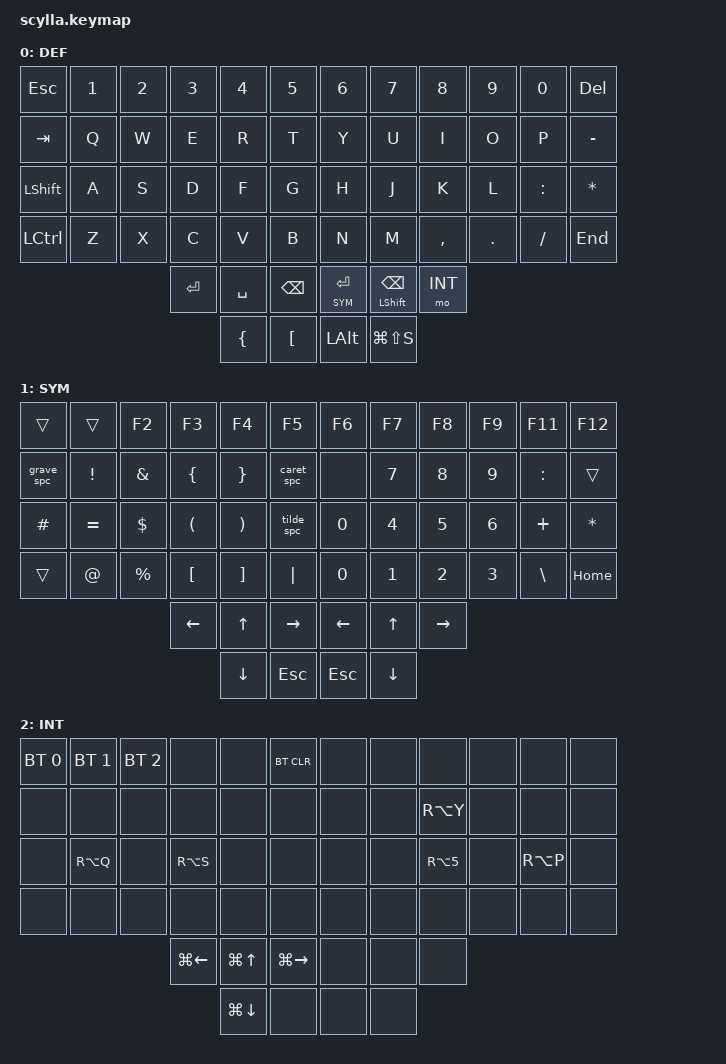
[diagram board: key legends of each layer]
#include <behaviors.dtsi>
#include <dt-bindings/zmk/keys.h>
#include <dt-bindings/zmk/bt.h>

#define DEF 0
#define SYM 1
#define INT 2

/ {
     macros {
      sqt_spc: sqt_spc {
        label = "ZM_sqt_spc";
        compatible = "zmk,behavior-macro";
        #binding-cells = <0>;
        tap-ms = <30>;
        bindings = <&kp SQT &kp SPACE>;
      };
      grave_spc: grave_spc {
        label = "ZM_grave_spc";
        compatible = "zmk,behavior-macro";
        #binding-cells = <0>;
        tap-ms = <30>;
        bindings = <&kp GRAVE &kp SPACE>;
      };
      tilde_spc: tilde_spc {
        label = "ZM_tilde_spc";
        compatible = "zmk,behavior-macro";
        #binding-cells = <0>;
        tap-ms = <30>;
        bindings = <&kp TILDE &kp SPACE>;
      };
      caret_spc: caret_spc {
        label = "ZM_tilde_spc";
        compatible = "zmk,behavior-macro";
        #binding-cells = <0>;
        tap-ms = <30>;
        bindings = <&kp CARET &kp SPACE>;
      };
    };
};

/ {
  keymap {
    compatible = "zmk,keymap";

DEF {
bindings = <
&kp ESC       &kp N1 &kp N2 &kp N3   &kp N4    &kp N5         &kp N6        &kp N7         &kp N8    &kp N9  &kp N0    &kp DEL
&kp TAB       &kp Q  &kp W  &kp E    &kp R     &kp T          &kp Y         &kp U          &kp I     &kp O   &kp P     &kp MINUS
&kp LSHIFT    &kp A  &kp S  &kp D    &kp F     &kp G          &kp H         &kp J          &kp K     &kp L   &kp COLON &kp STAR
&kp LCTL      &kp Z  &kp X  &kp C    &kp V     &kp B          &kp N         &kp M          &kp COMMA &kp DOT &kp SLASH &kp END
                            &kp RET  &kp SPACE &kp BSPC       &lt SYM ENTER &mt LSHFT BSPC &mo INT
                                     &kp LBRC  &kp LBKT       &kp LALT      &kp LG(LS(S))
>;
};
SYM {
bindings = <
&trans     &trans    &kp F2    &kp F3   &kp F4   &kp F5       &kp F6   &kp F7    &kp F8    &kp F9 &kp F11   &kp F12 
&grave_spc &kp EXCL  &kp AMPS  &kp LBRC &kp RBRC &caret_spc   &none    &kp N7    &kp N8    &kp N9 &kp COLON &trans
&kp HASH   &kp EQUAL &kp DLLR  &kp LPAR &kp RPAR &tilde_spc   &kp N0   &kp N4    &kp N5    &kp N6 &kp PLUS  &kp STAR
&trans     &kp AT    &kp PRCNT &kp LBKT &kp RBKT &kp PIPE     &kp N0   &kp N1    &kp N2    &kp N3 &kp BSLH  &kp HOME
                               &kp LEFT &kp UP   &kp RIGHT    &kp LEFT &kp UP    &kp RIGHT
                                        &kp DOWN  &kp ESC     &kp ESC  &kp DOWN
>;
};
INT {
bindings = <
&bt BT_SEL 0 &bt BT_SEL 1 &bt BT_SEL 2 &none        &none        &bt BT_CLR        &none      &none   &none        &none &none      &none 
&none        &none        &none        &none        &none        &none             &none      &none   &kp RA(Y)    &none &none      &none
&none        &kp RA(Q)    &none        &kp RA(S)    &none        &none             &none      &none   &kp RA(5)    &none &kp RA(P)  &none
&none        &none        &none        &none        &none        &none             &none      &none  &none        &none &none      &none
                                       &kp LG(LEFT) &kp LG(UP)   &kp LG(RIGHT)     &none      &none   &none
                                                    &kp LG(DOWN) &none             &none      &none
>;
};
};
};
